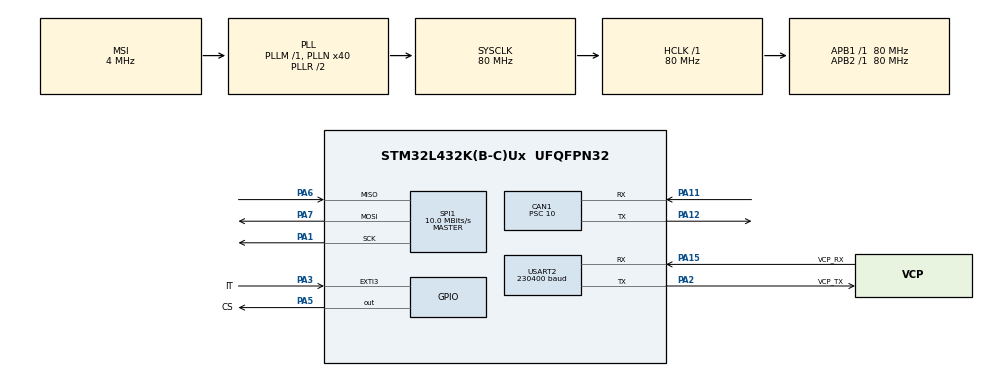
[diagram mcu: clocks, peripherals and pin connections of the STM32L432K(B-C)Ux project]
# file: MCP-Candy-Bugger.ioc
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CAN1.ABOM=ENABLE
CAN1.AWUM=ENABLE
CAN1.BS1=CAN_BS1_12TQ
CAN1.BS2=CAN_BS2_3TQ
CAN1.CalculateTimeBit=2000
CAN1.CalculateTimeQuantum=125.0
CAN1.Prescaler=10
CAN1.SJW=CAN_SJW_3TQ
Dma.Request0=USART2_RX
Dma.Request1=USART2_TX
Dma.Request2=SPI1_RX
Dma.Request3=SPI1_TX
Dma.SPI1_RX.2.Direction=DMA_PERIPH_TO_MEMORY
Dma.SPI1_RX.2.Instance=DMA1_Channel2
Dma.SPI1_RX.2.MemDataAlignment=DMA_MDATAALIGN_BYTE
Dma.SPI1_RX.2.MemInc=DMA_MINC_ENABLE
Dma.SPI1_RX.2.Mode=DMA_NORMAL
Dma.SPI1_RX.2.PeriphDataAlignment=DMA_PDATAALIGN_BYTE
Dma.SPI1_RX.2.PeriphInc=DMA_PINC_DISABLE
Dma.SPI1_RX.2.Priority=DMA_PRIORITY_HIGH
Dma.SPI1_TX.3.Direction=DMA_MEMORY_TO_PERIPH
Dma.SPI1_TX.3.Instance=DMA1_Channel3
Dma.SPI1_TX.3.MemDataAlignment=DMA_MDATAALIGN_BYTE
Dma.SPI1_TX.3.MemInc=DMA_MINC_ENABLE
Dma.SPI1_TX.3.Mode=DMA_NORMAL
Dma.SPI1_TX.3.PeriphDataAlignment=DMA_PDATAALIGN_BYTE
Dma.SPI1_TX.3.PeriphInc=DMA_PINC_DISABLE
Dma.SPI1_TX.3.Priority=DMA_PRIORITY_VERY_HIGH
Dma.USART2_RX.0.Direction=DMA_PERIPH_TO_MEMORY
Dma.USART2_RX.0.Instance=DMA1_Channel6
Dma.USART2_RX.0.MemDataAlignment=DMA_MDATAALIGN_BYTE
Dma.USART2_RX.0.MemInc=DMA_MINC_ENABLE
Dma.USART2_RX.0.Mode=DMA_CIRCULAR
Dma.USART2_RX.0.PeriphDataAlignment=DMA_PDATAALIGN_BYTE
Dma.USART2_RX.0.PeriphInc=DMA_PINC_DISABLE
Dma.USART2_RX.0.Priority=DMA_PRIORITY_HIGH
Dma.USART2_TX.1.Direction=DMA_MEMORY_TO_PERIPH
Dma.USART2_TX.1.Instance=DMA1_Channel7
Dma.USART2_TX.1.MemDataAlignment=DMA_MDATAALIGN_BYTE
Dma.USART2_TX.1.MemInc=DMA_MINC_ENABLE
Dma.USART2_TX.1.Mode=DMA_NORMAL
Dma.USART2_TX.1.PeriphDataAlignment=DMA_PDATAALIGN_BYTE
Dma.USART2_TX.1.PeriphInc=DMA_PINC_DISABLE
Dma.USART2_TX.1.Priority=DMA_PRIORITY_VERY_HIGH
FREERTOS.INCLUDE_eTaskGetState=1
FREERTOS.INCLUDE_vTaskDelayUntil=1
FREERTOS.INCLUDE_xQueueGetMutexHolder=1
FREERTOS.INCLUDE_xSemaphoreGetMutexHolder=1
FREERTOS.INCLUDE_xTaskGetCurrentTaskHandle=1
FREERTOS.Mutexes01=UartTxMtx
FREERTOS.Queues01=mainCanTxQ,64,Can_frame_t,NULL;mainCanRxQ,64,Can_frame_t,NULL
FREERTOS.Tasks01=processCan,-2,512,doProcessCan,Default;ProcessUart,0,512,doProcessUart,Default;housekeeping,-1,512,doHousekeeping,Default
FREERTOS.Timers01=WWDGTmr,TmrKickDog,osTimerPeriodic,Default
FREERTOS.configCHECK_FOR_STACK_OVERFLOW=2
FREERTOS.configENABLE_BACKWARD_COMPATIBILITY=0
FREERTOS.configMAX_PRIORITIES=6
FREERTOS.configMINIMAL_STACK_SIZE=256
FREERTOS.configTIMER_QUEUE_LENGTH=8
FREERTOS.configTIMER_TASK_PRIORITY=5
FREERTOS.configTIMER_TASK_STACK_DEPTH=512
FREERTOS.configTOTAL_HEAP_SIZE=32168
FREERTOS.configUSE_MALLOC_FAILED_HOOK=1
FREERTOS.configUSE_PORT_OPTIMISED_TASK_SELECTION=1
FREERTOS.configUSE_TASK_NOTIFICATIONS=0
FREERTOS.configUSE_TIMERS=1
FREERTOS.configUSE_TRACE_FACILITY=0
Mcu.Family=STM32L4
Mcu.Name=STM32L432K(B-C)Ux
Mcu.Package=UFQFPN32
NVIC.CAN1_RX0_IRQn=true\:5\:0\:true\:false\:true\:false
NVIC.CAN1_RX1_IRQn=true\:5\:0\:true\:false\:true\:false
NVIC.CAN1_SCE_IRQn=true\:5\:0\:true\:false\:true\:false
NVIC.CAN1_TX_IRQn=true\:5\:0\:true\:false\:true\:false
NVIC.DMA1_Channel2_IRQn=true\:5\:0\:false\:false\:true\:true
NVIC.DMA1_Channel3_IRQn=true\:5\:0\:false\:false\:true\:true
NVIC.DMA1_Channel6_IRQn=true\:5\:0\:false\:false\:true\:true
NVIC.DMA1_Channel7_IRQn=true\:5\:0\:false\:false\:true\:true
NVIC.PriorityGroup=NVIC_PRIORITYGROUP_4
NVIC.SPI1_IRQn=true\:5\:0\:false\:false\:true\:true
NVIC.TIM6_DAC_IRQn=true\:0\:0\:false\:false\:true\:false
NVIC.TimeBase=TIM6_DAC_IRQn
NVIC.TimeBaseIP=TIM6
NVIC.USART2_IRQn=true\:5\:0\:false\:false\:true\:true
PA1.Mode=Full_Duplex_Master
PA1.Signal=SPI1_SCK
PA11.Mode=Master
PA11.Signal=CAN1_RX
PA12.Mode=Master
PA12.Signal=CAN1_TX
PA13\ (JTMS-SWDIO).Mode=Serial_Wire
PA13\ (JTMS-SWDIO).Signal=SYS_JTMS-SWDIO
PA14\ (JTCK-SWCLK).Mode=Serial_Wire
PA14\ (JTCK-SWCLK).Signal=SYS_JTCK-SWCLK
PA15\ (JTDI).GPIO_Label=VCP_RX
PA15\ (JTDI).Mode=Asynchronous
PA15\ (JTDI).Signal=USART2_RX
PA2.GPIO_Label=VCP_TX
PA2.Mode=Asynchronous
PA2.Signal=USART2_TX
PA3.GPIO_Label=IT
PA3.Signal=GPXTI3
PA5.GPIO_Label=CS
PA5.GPIO_ModeDefaultOutputPP=GPIO_MODE_OUTPUT_OD
PA5.GPIO_PuPd=GPIO_PULLUP
PA5.GPIO_Speed=GPIO_SPEED_FREQ_VERY_HIGH
PA5.PinState=GPIO_PIN_SET
PA5.Signal=GPIO_Output
PA6.Mode=Full_Duplex_Master
PA6.Signal=SPI1_MISO
PA7.Mode=Full_Duplex_Master
PA7.Signal=SPI1_MOSI
ProjectManager.HeapSize=0x200
ProjectManager.StackSize=0x400
ProjectManager.TargetToolchain=SW4STM32
RCC.ADCCLockSelection=RCC_ADCCLKSOURCE_SYSCLK
RCC.ADCFreq_Value=80000000
RCC.AHBFreq_Value=80000000
RCC.APB1Freq_Value=80000000
RCC.APB1TimFreq_Value=80000000
RCC.APB2Freq_Value=80000000
RCC.APB2TimFreq_Value=80000000
RCC.CortexFreq_Value=80000000
RCC.HCLKFreq_Value=80000000
RCC.HSE_VALUE=8000000
RCC.HSI16_VALUE=16000000
RCC.HSI48_VALUE=48000000
RCC.HSI_VALUE=16000000
RCC.LSE_VALUE=32768
RCC.MSI_VALUE=4000000
RCC.PLLMUL=RCC_PLLMUL_4
RCC.PLLN=40
RCC.PLLSAI1N=40
RCC.PREFETCH_ENABLE=1
RCC.SYSCLKFreq_VALUE=80000000
RCC.SYSCLKSource=RCC_SYSCLKSOURCE_PLLCLK
RCC.USBFreq_Value=80000000
RCC.VCOOutputFreq_Value=160000000
SPI1.BaudRatePrescaler=SPI_BAUDRATEPRESCALER_8
SPI1.CalculateBaudRate=10.0 MBits/s
SPI1.DataSize=SPI_DATASIZE_8BIT
SPI1.Mode=SPI_MODE_MASTER
USART2.BaudRate=230400
USART2.WordLength=UART_WORDLENGTH_8B
VP_FREERTOS_VS_ENABLE.Mode=Enabled
VP_SYS_VS_tim6.Mode=TIM6
VP_WWDG_VS_WWDG.Mode=WWDG_Activate
WWDG.Counter=127
WWDG.Prescaler=WWDG_PRESCALER_8
WWDG.Window=127
board=NUCLEO-L432KC

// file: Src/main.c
/**
  ******************************************************************************
  * File Name          : main.c
  * Description        : Main program body
  ******************************************************************************
  *
  * Copyright (c) 2017 STMicroelectronics International N.V.
  * All rights reserved.
  *
  * Redistribution and use in source and binary forms, with or without
  * modification, are permitted, provided that the following conditions are met:
  *
  * 1. Redistribution of source code must retain the above copyright notice,
  *    this list of conditions and the following disclaimer.
  * 2. Redistributions in binary form must reproduce the above copyright notice,
  *    this list of conditions and the following disclaimer in the documentation
  *    and/or other materials provided with the distribution.
  * 3. Neither the name of STMicroelectronics nor the names of other
  *    contributors to this software may be used to endorse or promote products
  *    derived from this software without specific written permission.
  * 4. This software, including modifications and/or derivative works of this
  *    software, must execute solely and exclusively on microcontroller or
  *    microprocessor devices manufactured by or for STMicroelectronics.
  * 5. Redistribution and use of this software other than as permitted under
  *    this license is void and will automatically terminate your rights under
  *    this license.
  *
  * THIS SOFTWARE IS PROVIDED BY STMICROELECTRONICS AND CONTRIBUTORS "AS IS"
  * AND ANY EXPRESS, IMPLIED OR STATUTORY WARRANTIES, INCLUDING, BUT NOT
  * LIMITED TO, THE IMPLIED WARRANTIES OF MERCHANTABILITY, FITNESS FOR A
  * PARTICULAR PURPOSE AND NON-INFRINGEMENT OF THIRD PARTY INTELLECTUAL PROPERTY
  * RIGHTS ARE DISCLAIMED TO THE FULLEST EXTENT PERMITTED BY LAW. IN NO EVENT
  * SHALL STMICROELECTRONICS OR CONTRIBUTORS BE LIABLE FOR ANY DIRECT, INDIRECT,
  * INCIDENTAL, SPECIAL, EXEMPLARY, OR CONSEQUENTIAL DAMAGES (INCLUDING, BUT NOT
  * LIMITED TO, PROCUREMENT OF SUBSTITUTE GOODS OR SERVICES; LOSS OF USE, DATA,
  * OR PROFITS; OR BUSINESS INTERRUPTION) HOWEVER CAUSED AND ON ANY THEORY OF
  * LIABILITY, WHETHER IN CONTRACT, STRICT LIABILITY, OR TORT (INCLUDING
  * NEGLIGENCE OR OTHERWISE) ARISING IN ANY WAY OUT OF THE USE OF THIS SOFTWARE,
  * EVEN IF ADVISED OF THE POSSIBILITY OF SUCH DAMAGE.
  *
  ******************************************************************************
  */
#include "main.h"
#include "stm32l4xx_hal.h"
#include "cmsis_os.h"

/* USER CODE BEGIN Includes */
#include "serial.h"
#include "can.h"
#include "errors.h"

/* USER CODE END Includes */

CAN_HandleTypeDef hcan1;

SPI_HandleTypeDef hspi1;
DMA_HandleTypeDef hdma_spi1_rx;
DMA_HandleTypeDef hdma_spi1_tx;

UART_HandleTypeDef huart2;
DMA_HandleTypeDef hdma_usart2_rx;
DMA_HandleTypeDef hdma_usart2_tx;

WWDG_HandleTypeDef hwwdg;

osThreadId processCanHandle;
osThreadId ProcessUartHandle;
osThreadId housekeepingHandle;
osMessageQId mainCanTxQHandle;
osMessageQId mainCanRxQHandle;
osTimerId WWDGTmrHandle;
osMutexId UartTxMtxHandle;

/* USER CODE BEGIN PV */
/* Private variables ---------------------------------------------------------*/
static uint8_t FWVersionNumber[] = "1.0.0";

static uint32_t CanErr = 0;
static uint16_t CanSent = 0;

/* USER CODE END PV */

void SystemClock_Config(void);
void Error_Handler(void);
static void MX_GPIO_Init(void);
static void MX_DMA_Init(void);
static void MX_CAN1_Init(void);
static void MX_USART2_UART_Init(void);
static void MX_WWDG_Init(void);
static void MX_SPI1_Init(void);
void doProcessCan(void const * argument);
void doProcessUart(void const * argument);
void doHousekeeping(void const * argument);
void TmrKickDog(void const * argument);

/* USER CODE BEGIN PFP */
/* Private function prototypes -----------------------------------------------*/
void logError(LogErrorCode_t e, LogErrorLevel_t l);

void notifySuccess(){
	static uint8_t msg[] = "{\"type\":\"action\",\"success\":true}\n";
	xSemaphoreTake(UartTxMtxHandle, portMAX_DELAY);
	Serial2_writeBuf(msg);
	xSemaphoreGive(UartTxMtxHandle);
}

void notifyFail(){
	static uint8_t msg[] = "{\"type\":\"action\",\"success\":false}\n";
	xSemaphoreTake(UartTxMtxHandle, portMAX_DELAY);
	Serial2_writeBuf(msg);
	xSemaphoreGive(UartTxMtxHandle);
}

void toCaps(uint8_t *str, uint8_t length){
	for(int i=0; i<length; i++){
		if(str[i]>='a' && str[i]<='z'){
			str[i]-=(0x20);
		}
	}
}

uint8_t toHex(uint8_t i){
	return (i<=9 ? '0'+i : 'A'+i-10);
}

uint8_t fromHex(uint8_t i){//0xff = invalid char
	if(i>='0' && i<='9'){
		return i-'0';
	}else if(i>='A' && i<='F'){
		return i-'A'+10;
	}else if(i>='a' && i<='f'){
		return i-'a'+10;
	}
	return 0xff;
}

uint8_t intToDec(uint input, uint8_t *str){ //returns length. Only does positives.
	uint8_t length = 0;
	uint8_t output[10];
	while(input/10){
		length++;
		output[10-length] = toHex(input%10);
		input/=10;
	}
	length++;
	output[10-length] = toHex(input);
	for(int i=0; i<length; i++){
		str[i] = output[10-length+i];
	}
	return length;
}

void intToHex(uint32_t input, uint8_t *str, int length){
	for(int i=0; i<length; i++){
		str[length-1-i]=toHex(input&0x0F);
		input = input>>4;
	}
}

int strToInt(uint8_t *str, uint8_t index, uint8_t length){
	return 0;
}

void cantxcb(){
	CanSent ++;
}

void canercb(uint32_t e){
	CanErr = e;
}

void logError(LogErrorCode_t e, LogErrorLevel_t l){
	static uint8_t errlvlwarn[] = "warn";			//error fixed or accounted for
	static uint8_t errlvlabort[] = "abort";			//error caused function to exit
	static uint8_t errlvlfatal[] = "fatal";			//shit (and soon the watchdog) hit the fan.
	static uint8_t errlvldunno[] = "unknown";		//wrong value or lazy implementation
	static uint8_t errCode[] = "xxxxxxxxxx";	//max is 4 billion for int
	static uint8_t errmsg1[] = "{\"type\":\"error\",\"code\":";
	static uint8_t errmsg2[] = ",\"message\":\"";
	static uint8_t errmsg3[] = "\",\"level\":\"";
	static uint8_t errmsg4[] = "\"}\n";

	xSemaphoreTake(UartTxMtxHandle, portMAX_DELAY);
	uint8_t length = intToDec(e, errCode);
	Serial2_writeBuf(errmsg1);
	Serial2_writeBytes(errCode, length);
	Serial2_writeBuf(errmsg2);
	Serial2_writeBytes(Err_Messages[e].str, Err_Messages[e].length);
	Serial2_writeBuf(errmsg3);
	switch(l){
	case ERR_Fatal:
		Serial2_writeBuf(errlvlfatal); break;
	case ERR_Warn:
		Serial2_writeBuf(errlvlwarn); break;
	case ERR_Abort:
		Serial2_writeBuf(errlvlabort); break;
	default:
		Serial2_writeBuf(errlvldunno); break;
	}
	Serial2_writeBuf(errmsg4);
	xSemaphoreGive(UartTxMtxHandle);
}

static void waitTilAvail(uint length){ //blocks current taks (runs others) until true
	while(Serial2_available() < length){
		osDelay(1);
	}
}

void parseFilter(uint8_t isExt, uint8_t isMasked){
	static uint32_t id;
	static uint32_t mask;
	 int isRemote;

	static uint8_t tempByte;
	/*Get RTR*/
	waitTilAvail(1);
	tempByte = fromHex(Serial2_read());
	if(tempByte > 0x03){
		logError(ERR_invalidRtrBits, ERR_Abort);
		return;
	}else if(tempByte > 0x01){ //mask = must match
		if(tempByte & 0x01){
			isRemote = 1;
		}else{
			isRemote = 0;
		}
	}else{ //mask = don't care
		isRemote = -1;
	}
	/*Get ID*/
	id = 0;
	if(isExt){
		waitTilAvail(8);
		for(int i=0; i<8; i++){
			tempByte = fromHex(Serial2_read());
			if(tempByte > 0x0f){
				logError(ERR_invalidHexChar, ERR_Abort);
				return;
			}
			id |= tempByte << ((7-i)*4);
		}
		if(id > 0x1fffffff){
			logError(ERR_idIsOutOfRange, ERR_Abort);
			return;
		}
	}else{
		waitTilAvail(3);
		for(int i=0; i<3; i++){
			tempByte = fromHex(Serial2_read());
			if(tempByte > 0x0f){
				logError(ERR_invalidHexChar, ERR_Abort);
				return;
			}
			id |= tempByte << ((2-i)*4);
		}
		if(id > 0x7ff){
			logError(ERR_idIsOutOfRange, ERR_Abort);
			return;
		}
	}
	/*Get mask and/or send*/
	if(isMasked){
		if(isExt){
			waitTilAvail(8);
			for(int i=0; i<8; i++){
				tempByte = fromHex(Serial2_read());
				if(tempByte > 0x0f){
					logError(ERR_invalidHexChar, ERR_Abort);
					return;
				}
				mask |= tempByte << ((7-i)*4);
			}
			if(mask > 0x1fffffff){
				logError(ERR_idIsOutOfRange, ERR_Abort);
				return;
			}
			bxCan_addMaskedFilterExt(id, mask, isRemote);
		}else{
			waitTilAvail(3);
			for(int i=0; i<3; i++){
				tempByte = fromHex(Serial2_read());
				if(tempByte > 0x0f){
					logError(ERR_invalidHexChar, ERR_Abort);
					return;
				}
				mask |= tempByte << ((2-i)*4);
			}
			if(mask > 0x7ff){
				logError(ERR_idIsOutOfRange, ERR_Abort);
				return;
			}
			bxCan_addMaskedFilterStd(id, mask, isRemote);
		}
	}else{
		if(isExt){
			bxCan_addFilterExt(id, isRemote);
		}else{
			bxCan_addFilterStd(id, isRemote);
		}
		notifySuccess();
	}
}

void parseFrame(uint8_t isExt, uint8_t isRemote){
	static Can_frame_t newFrame;
	static uint8_t tempByte;

	newFrame.isExt = isExt;
	newFrame.isRemote = isRemote;

	/*Get DLC*/
	waitTilAvail(1);
	newFrame.dlc = fromHex(Serial2_read());
	if(newFrame.dlc > 0x0f){
		logError(ERR_invalidHexChar, ERR_Abort);
		return;
	}

	/*Get ID*/
	newFrame.id = 0;
	if(isExt){
		waitTilAvail(8);
		for(int i=0; i<8; i++){
			tempByte = fromHex(Serial2_read());
			if(tempByte > 0x0f){
				logError(ERR_invalidHexChar, ERR_Abort);
				return;
			}
			newFrame.id |= tempByte << ((7-i)*4);
		}
		if(newFrame.id > 0x1fffffff){
			logError(ERR_idIsOutOfRange, ERR_Abort);
			return;
		}
	}else{
		waitTilAvail(3);
		for(int i=0; i<3; i++){
			tempByte = fromHex(Serial2_read());
			if(tempByte > 0x0f){
				logError(ERR_invalidHexChar, ERR_Abort);
				return;
			}
			newFrame.id |= tempByte << ((2-i)*4);
		}
		if(newFrame.id > 0x7ff){
			logError(ERR_idIsOutOfRange, ERR_Abort);
			return;
		}
	}

	/*Get data*/
	if(!isRemote){
		waitTilAvail(newFrame.dlc*2);
		for(int i=0; i<newFrame.dlc; i++){
			tempByte = fromHex(Serial2_read());
			if(tempByte > 0x0f){
				logError(ERR_invalidHexChar, ERR_Abort);
				return;
			}
			newFrame.Data[i] = tempByte << 4;
			tempByte = fromHex(Serial2_read());
			if(tempByte > 0x0f){
				logError(ERR_invalidHexChar, ERR_Abort);
				return;
			}
			newFrame.Data[i] |= tempByte;
		}
	}
	bxCan_sendFrame(&newFrame);
}

void displayHelp(){
	static uint8_t helpmsg[] = "{\"type\":\"help\",\"msg\":\"\n\nCandy Bugger\n\nSend Frame: '$', [DLC], [ID]x3|8, [Dat]x0~16\n$ designations:\n\t'-' == Std Data Frame\n\t'=' == Ext Data frame\n\t'_' == Std Remote Frame\n\t'+' == Ext Remote Frame\n\nSet Filter: '$', 0b00[RTRm][RTR], [ID]x3|8, [IDm]x3|8\n$ designations:\n\t',' == Std Unmasked Filter\n\t'.' == Ext Unmasked Filter\n\t'<' == Std Masked Filter\n\t'>' == Ext Masked Filter\n\nHelp (for no-ui operation): 'H'|'h'\n\"}\n";
	xSemaphoreTake(UartTxMtxHandle, portMAX_DELAY);
	Serial2_writeBuf(helpmsg);
	xSemaphoreGive(UartTxMtxHandle);
}

void listFilters(){
	static uint8_t truemsg[] = "true";
	static uint8_t falsemsg[] = "flase";
	static uint8_t idmsg[] = "xxxxxxxx";
	static uint8_t filternummsg[] = "xx";

	static uint8_t filtermsg1[] = "{\"type\":\"filterList\",\"filters\":[";
	static uint8_t filtermsg2[]	= "{\"filterNum\":";
	static uint8_t filtermsg3[]	= ",\"isExtended\":";
	static uint8_t filtermsg4[]	= ",\"isMasked\":";
	static uint8_t filtermsg5[]	= ",\"isRemote\":";
	static uint8_t filtermsg6[]	= ",\"maskRemote\":";
	static uint8_t filtermsg7[]	= ",\"id\":\"";
	static uint8_t filtermsg8[]	= "\",\"mask\":\"";
	static uint8_t filtermsg9[]	= "\"}";
	static uint8_t filtermsg10[] = "]}\n";

	static uint8_t isFirstMsg;
	static uint8_t len;

	xSemaphoreTake(UartTxMtxHandle, portMAX_DELAY);
	Serial2_writeBuf(filtermsg1);

	isFirstMsg = 1;
	for(int i=0; i<4*CAN_BANKS; i++){
		static Can_filter_t newFilter;
		if(bxCan_getFilter(&newFilter, i)==0){ /*FIXME get filter is glitched*/
			if(isFirstMsg){
				isFirstMsg = 0;
			}else{
				Serial2_write(',');
			}
			Serial2_writeBuf(filtermsg2);
			len = intToDec(newFilter.filterNum, filternummsg);
			Serial2_writeBytes(filternummsg, len);
			Serial2_writeBuf(filtermsg3);
			newFilter.isExt ? Serial2_writeBuf(truemsg) : Serial2_writeBuf(falsemsg);
			Serial2_writeBuf(filtermsg4);
			newFilter.isMasked ? Serial2_writeBuf(truemsg) : Serial2_writeBuf(falsemsg);
			Serial2_writeBuf(filtermsg5);
			newFilter.isRemote ? Serial2_writeBuf(truemsg) : Serial2_writeBuf(falsemsg);
			Serial2_writeBuf(filtermsg6);
			newFilter.maskRemote ? Serial2_writeBuf(truemsg) : Serial2_writeBuf(falsemsg);
			Serial2_writeBuf(filtermsg7);
			intToHex(newFilter.id, idmsg, (newFilter.isExt?8:3));
			Serial2_writeBytes(idmsg, (newFilter.isExt?8:3));
			if(newFilter.isMasked){
				Serial2_writeBuf(filtermsg8);
				intToHex(newFilter.mask, idmsg, (newFilter.isExt?8:3));
				Serial2_writeBytes(idmsg, (newFilter.isExt?8:3));
			}
			Serial2_writeBuf(filtermsg9);
		}
	}
	Serial2_writeBuf(filtermsg10);
	xSemaphoreGive(UartTxMtxHandle);
	isFirstMsg = 1;
}

void deleteFilter(){
	static uint8_t filterNum;
	static uint8_t tempChar;
	static int success;
	waitTilAvail(1);
	tempChar = Serial2_read();
	tempChar = fromHex(tempChar);
	if(tempChar > 9){
		logError(ERR_invalidDecChar, ERR_Abort);
		return;
	}
	filterNum = 10*tempChar;
	waitTilAvail(1);
	tempChar = Serial2_read();
	tempChar = fromHex(tempChar);
	if(tempChar > 9){
		logError(ERR_invalidDecChar, ERR_Abort);
		return;
	}
	filterNum += tempChar;
	if(filterNum >= CAN_BANKS*4){
		logError(ERR_invalidFilterNum, ERR_Abort);
		return;
	}
	success = bxCan_removeFilter(filterNum);
	(success==-1) ? notifyFail() : notifySuccess();
}

/* USER CODE END PFP */

int main(void)
{

  /* MCU Configuration----------------------------------------------------------*/

  /* Reset of all peripherals, Initializes the Flash interface and the Systick. */
  HAL_Init();

  /* Configure the system clock */
  SystemClock_Config();

  /* Initialize all configured peripherals */
  MX_GPIO_Init();
  MX_DMA_Init();
  MX_CAN1_Init();
  MX_USART2_UART_Init();
  MX_WWDG_Init();
  MX_SPI1_Init();

  /* USER CODE BEGIN 2 */
  Serial2_begin();

  /*TODO better boot msg*/
  static uint8_t bootmsg1[] = "{\"type\":\"boot\",\"module\":\"Debugger\",\"version\":\"";
  static uint8_t bootmsg2[] = "\",\"reason\":\"\"}\n";
  Serial2_writeBuf(bootmsg1);
  Serial2_writeBuf(FWVersionNumber);
  Serial2_writeBuf(bootmsg2);

  bxCan_begin(&hcan1, &mainCanRxQHandle, &mainCanTxQHandle);
  bxCan_setTxCallback(cantxcb);
  bxCan_setErrCallback(canercb);
  bxCan_addMaskedFilterStd(0,0,0); //catch all
  bxCan_addMaskedFilterExt(0,0,0);
  /* USER CODE END 2 */

  /* Create the mutex(es) */
  /* definition and creation of UartTxMtx */
  osMutexDef(UartTxMtx);
  UartTxMtxHandle = osMutexCreate(osMutex(UartTxMtx));

  /* Create the timer(s) */
  /* definition and creation of WWDGTmr */
  osTimerDef(WWDGTmr, TmrKickDog);
  WWDGTmrHandle = osTimerCreate(osTimer(WWDGTmr), osTimerPeriodic, NULL);

  /* USER CODE BEGIN RTOS_TIMERS */
  /* start timers, add new ones, ... */
  osTimerStart(WWDGTmrHandle, 16);
  /* USER CODE END RTOS_TIMERS */

  /* Create the thread(s) */
  /* definition and creation of processCan */
  osThreadDef(processCan, doProcessCan, osPriorityLow, 0, 512);
  processCanHandle = osThreadCreate(osThread(processCan), NULL);

  /* definition and creation of ProcessUart */
  osThreadDef(ProcessUart, doProcessUart, osPriorityNormal, 0, 512);
  ProcessUartHandle = osThreadCreate(osThread(ProcessUart), NULL);

  /* definition and creation of housekeeping */
  osThreadDef(housekeeping, doHousekeeping, osPriorityBelowNormal, 0, 512);
  housekeepingHandle = osThreadCreate(osThread(housekeeping), NULL);

  /* Create the queue(s) */
  /* definition and creation of mainCanTxQ */
  osMessageQDef(mainCanTxQ, 64, Can_frame_t);
  mainCanTxQHandle = osMessageCreate(osMessageQ(mainCanTxQ), NULL);

  /* definition and creation of mainCanRxQ */
  osMessageQDef(mainCanRxQ, 64, Can_frame_t);
  mainCanRxQHandle = osMessageCreate(osMessageQ(mainCanRxQ), NULL);

  /* Start scheduler */
  osKernelStart();

  /* We should never get here as control is now taken by the scheduler */

  /* Infinite loop */
  while (1){

  }

}

/** System Clock Configuration
*/
void SystemClock_Config(void)
{

  RCC_OscInitTypeDef RCC_OscInitStruct;
  RCC_ClkInitTypeDef RCC_ClkInitStruct;
  RCC_PeriphCLKInitTypeDef PeriphClkInit;

    /**Initializes the CPU, AHB and APB busses clocks
    */
  RCC_OscInitStruct.OscillatorType = RCC_OSCILLATORTYPE_MSI;
  RCC_OscInitStruct.MSIState = RCC_MSI_ON;
  RCC_OscInitStruct.MSICalibrationValue = 0;
  RCC_OscInitStruct.MSIClockRange = RCC_MSIRANGE_6;
  RCC_OscInitStruct.PLL.PLLState = RCC_PLL_ON;
  RCC_OscInitStruct.PLL.PLLSource = RCC_PLLSOURCE_MSI;
  RCC_OscInitStruct.PLL.PLLM = 1;
  RCC_OscInitStruct.PLL.PLLN = 40;
  RCC_OscInitStruct.PLL.PLLP = RCC_PLLP_DIV7;
  RCC_OscInitStruct.PLL.PLLQ = RCC_PLLQ_DIV2;
  RCC_OscInitStruct.PLL.PLLR = RCC_PLLR_DIV2;
  if (HAL_RCC_OscConfig(&RCC_OscInitStruct) != HAL_OK)
  {
    Error_Handler();
  }

    /**Initializes the CPU, AHB and APB busses clocks
    */
  RCC_ClkInitStruct.ClockType = RCC_CLOCKTYPE_HCLK|RCC_CLOCKTYPE_SYSCLK
                              |RCC_CLOCKTYPE_PCLK1|RCC_CLOCKTYPE_PCLK2;
  RCC_ClkInitStruct.SYSCLKSource = RCC_SYSCLKSOURCE_PLLCLK;
  RCC_ClkInitStruct.AHBCLKDivider = RCC_SYSCLK_DIV1;
  RCC_ClkInitStruct.APB1CLKDivider = RCC_HCLK_DIV1;
  RCC_ClkInitStruct.APB2CLKDivider = RCC_HCLK_DIV1;

  if (HAL_RCC_ClockConfig(&RCC_ClkInitStruct, FLASH_LATENCY_4) != HAL_OK)
  {
    Error_Handler();
  }

  PeriphClkInit.PeriphClockSelection = RCC_PERIPHCLK_USART2;
  PeriphClkInit.Usart2ClockSelection = RCC_USART2CLKSOURCE_PCLK1;
  if (HAL_RCCEx_PeriphCLKConfig(&PeriphClkInit) != HAL_OK)
  {
    Error_Handler();
  }

    /**Configure the main internal regulator output voltage
    */
  if (HAL_PWREx_ControlVoltageScaling(PWR_REGULATOR_VOLTAGE_SCALE1) != HAL_OK)
  {
    Error_Handler();
  }

    /**Configure the Systick interrupt time
    */
  HAL_SYSTICK_Config(HAL_RCC_GetHCLKFreq()/1000);

    /**Configure the Systick
    */
  HAL_SYSTICK_CLKSourceConfig(SYSTICK_CLKSOURCE_HCLK);

  /* SysTick_IRQn interrupt configuration */
  HAL_NVIC_SetPriority(SysTick_IRQn, 15, 0);
}

/* CAN1 init function */
static void MX_CAN1_Init(void)
{

  hcan1.Instance = CAN1;
  hcan1.Init.Prescaler = 10;
  hcan1.Init.Mode = CAN_MODE_NORMAL;
  hcan1.Init.SJW = CAN_SJW_3TQ;
  hcan1.Init.BS1 = CAN_BS1_12TQ;
  hcan1.Init.BS2 = CAN_BS2_3TQ;
  hcan1.Init.TTCM = DISABLE;
  hcan1.Init.ABOM = ENABLE;
  hcan1.Init.AWUM = ENABLE;
  hcan1.Init.NART = DISABLE;
  hcan1.Init.RFLM = DISABLE;
  hcan1.Init.TXFP = DISABLE;
  if (HAL_CAN_Init(&hcan1) != HAL_OK)
  {
    Error_Handler();
  }

}

/* SPI1 init function */
static void MX_SPI1_Init(void)
{

  hspi1.Instance = SPI1;
  hspi1.Init.Mode = SPI_MODE_MASTER;
  hspi1.Init.Direction = SPI_DIRECTION_2LINES;
  hspi1.Init.DataSize = SPI_DATASIZE_8BIT;
  hspi1.Init.CLKPolarity = SPI_POLARITY_LOW;
  hspi1.Init.CLKPhase = SPI_PHASE_1EDGE;
  hspi1.Init.NSS = SPI_NSS_SOFT;
  hspi1.Init.BaudRatePrescaler = SPI_BAUDRATEPRESCALER_8;
  hspi1.Init.FirstBit = SPI_FIRSTBIT_MSB;
  hspi1.Init.TIMode = SPI_TIMODE_DISABLE;
  hspi1.Init.CRCCalculation = SPI_CRCCALCULATION_DISABLE;
  hspi1.Init.CRCPolynomial = 7;
  hspi1.Init.CRCLength = SPI_CRC_LENGTH_DATASIZE;
  hspi1.Init.NSSPMode = SPI_NSS_PULSE_ENABLE;
  if (HAL_SPI_Init(&hspi1) != HAL_OK)
  {
    Error_Handler();
  }

}

/* USART2 init function */
static void MX_USART2_UART_Init(void)
{

  huart2.Instance = USART2;
  huart2.Init.BaudRate = 230400;
  huart2.Init.WordLength = UART_WORDLENGTH_8B;
  huart2.Init.StopBits = UART_STOPBITS_1;
  huart2.Init.Parity = UART_PARITY_NONE;
  huart2.Init.Mode = UART_MODE_TX_RX;
  huart2.Init.HwFlowCtl = UART_HWCONTROL_NONE;
  huart2.Init.OverSampling = UART_OVERSAMPLING_16;
  huart2.Init.OneBitSampling = UART_ONE_BIT_SAMPLE_DISABLE;
  huart2.AdvancedInit.AdvFeatureInit = UART_ADVFEATURE_NO_INIT;
  if (HAL_UART_Init(&huart2) != HAL_OK)
  {
    Error_Handler();
  }

}

/* WWDG init function */
static void MX_WWDG_Init(void)
{

  hwwdg.Instance = WWDG;
  hwwdg.Init.Prescaler = WWDG_PRESCALER_8;
  hwwdg.Init.Window = 127;
  hwwdg.Init.Counter = 127;
  hwwdg.Init.EWIMode = WWDG_EWI_DISABLE;
  if (HAL_WWDG_Init(&hwwdg) != HAL_OK)
  {
    Error_Handler();
  }

}

static void MX_DMA_Init(void)
{
  /* DMA controller clock enable */
  LL_AHB1_GRP1_EnableClock(LL_AHB1_GRP1_PERIPH_DMA1);

  /* DMA interrupt init */
  /* DMA1_Channel2_IRQn interrupt configuration */
  HAL_NVIC_SetPriority(DMA1_Channel2_IRQn, 5, 0);
  HAL_NVIC_EnableIRQ(DMA1_Channel2_IRQn);
  /* DMA1_Channel3_IRQn interrupt configuration */
  HAL_NVIC_SetPriority(DMA1_Channel3_IRQn, 5, 0);
  HAL_NVIC_EnableIRQ(DMA1_Channel3_IRQn);
  /* DMA1_Channel6_IRQn interrupt configuration */
  HAL_NVIC_SetPriority(DMA1_Channel6_IRQn, 5, 0);
  HAL_NVIC_EnableIRQ(DMA1_Channel6_IRQn);
  /* DMA1_Channel7_IRQn interrupt configuration */
  HAL_NVIC_SetPriority(DMA1_Channel7_IRQn, 5, 0);
  HAL_NVIC_EnableIRQ(DMA1_Channel7_IRQn);

}

/** Configure pins as
        * Analog
        * Input
        * Output
        * EVENT_OUT
        * EXTI
        * Free pins are configured automatically as Analog (this feature is enabled through
        * the Code Generation settings)
*/
static void MX_GPIO_Init(void)
{

  GPIO_InitTypeDef GPIO_InitStruct;

  /* GPIO Ports Clock Enable */
  __HAL_RCC_GPIOC_CLK_ENABLE();
  __HAL_RCC_GPIOA_CLK_ENABLE();
  __HAL_RCC_GPIOB_CLK_ENABLE();
  __HAL_RCC_GPIOH_CLK_ENABLE();

  /*Configure GPIO pins : PC14 PC15 */
  GPIO_InitStruct.Pin = GPIO_PIN_14|GPIO_PIN_15;
  GPIO_InitStruct.Mode = GPIO_MODE_ANALOG;
  GPIO_InitStruct.Pull = GPIO_NOPULL;
  HAL_GPIO_Init(GPIOC, &GPIO_InitStruct);

  /*Configure GPIO pins : PA0 PA4 PA8 PA9
                           PA10 */
  GPIO_InitStruct.Pin = GPIO_PIN_0|GPIO_PIN_4|GPIO_PIN_8|GPIO_PIN_9
                          |GPIO_PIN_10;
  GPIO_InitStruct.Mode = GPIO_MODE_ANALOG;
  GPIO_InitStruct.Pull = GPIO_NOPULL;
  HAL_GPIO_Init(GPIOA, &GPIO_InitStruct);

  /*Configure GPIO pin : IT_Pin */
  GPIO_InitStruct.Pin = IT_Pin;
  GPIO_InitStruct.Mode = GPIO_MODE_IT_RISING;
  GPIO_InitStruct.Pull = GPIO_NOPULL;
  HAL_GPIO_Init(IT_GPIO_Port, &GPIO_InitStruct);

  /*Configure GPIO pin : CS_Pin */
  GPIO_InitStruct.Pin = CS_Pin;
  GPIO_InitStruct.Mode = GPIO_MODE_OUTPUT_OD;
  GPIO_InitStruct.Pull = GPIO_PULLUP;
  GPIO_InitStruct.Speed = GPIO_SPEED_FREQ_VERY_HIGH;
  HAL_GPIO_Init(CS_GPIO_Port, &GPIO_InitStruct);

  /*Configure GPIO pins : PB0 PB1 PB3 PB4
                           PB5 PB6 PB7 */
  GPIO_InitStruct.Pin = GPIO_PIN_0|GPIO_PIN_1|GPIO_PIN_3|GPIO_PIN_4
                          |GPIO_PIN_5|GPIO_PIN_6|GPIO_PIN_7;
  GPIO_InitStruct.Mode = GPIO_MODE_ANALOG;
  GPIO_InitStruct.Pull = GPIO_NOPULL;
  HAL_GPIO_Init(GPIOB, &GPIO_InitStruct);

  /*Configure GPIO pin : PH3 */
  GPIO_InitStruct.Pin = GPIO_PIN_3;
  GPIO_InitStruct.Mode = GPIO_MODE_ANALOG;
  GPIO_InitStruct.Pull = GPIO_NOPULL;
  HAL_GPIO_Init(GPIOH, &GPIO_InitStruct);

  /*Configure GPIO pin Output Level */
  HAL_GPIO_WritePin(CS_GPIO_Port, CS_Pin, GPIO_PIN_SET);

}

/* doProcessCan function */
void doProcessCan(void const * argument)
{

  /* USER CODE BEGIN 5 */
  static Can_frame_t newFrame;

  /*JSON goodness*/
  static uint8_t truemsg[] = "true";
  static uint8_t falsemsg[] = "false";
  static uint8_t stdidmsg[] = "xxx";
  static uint8_t extidmsg[] = "xxxxxxxx";
  static uint8_t datamsg[] = ",\"xx\"";
  static uint8_t framemsg1[] = "{\"type\":\"frame\",\"ide\":"; //bool
  static uint8_t framemsg2[] = ",\"rtr\":";		//bool
  static uint8_t framemsg3[] = ",\"dlc\":";		//number
  static uint8_t framemsg4[] = ",\"id\":\"";		//string (hex)
  static uint8_t framemsg5[] = "\",\"data\":[";	//strings (hex)
  static uint8_t framemsg6[] = "]}\n";			//for data frames
  static uint8_t framemsg5b[] = "\"}\n";			//for remote frames

  /* Infinite loop */
  for(;;)
  {
	  xQueueReceive(mainCanRxQHandle, &newFrame, portMAX_DELAY);
	  xSemaphoreTake(UartTxMtxHandle, portMAX_DELAY);

	  /*bang out the frame in JSON*/
	  Serial2_writeBuf(framemsg1);
	  newFrame.isExt ? Serial2_writeBuf(truemsg) : Serial2_writeBuf(falsemsg);
	  Serial2_writeBuf(framemsg2);
	  newFrame.isRemote ? Serial2_writeBuf(truemsg) : Serial2_writeBuf(falsemsg);
	  Serial2_writeBuf(framemsg3);
	  Serial2_write(toHex(newFrame.dlc));
	  Serial2_writeBuf(framemsg4);
	  if(newFrame.isExt){
		  intToHex(newFrame.id, extidmsg, 8);
		  Serial2_writeBuf(extidmsg);
	  }else{
		  intToHex(newFrame.id, stdidmsg, 3);
		  Serial2_writeBuf(stdidmsg);
	  }
	  if(newFrame.isRemote){
		  Serial2_writeBuf(framemsg5b);
	  }else{
		  Serial2_writeBuf(framemsg5);
		  for(int i=0; i<newFrame.dlc; i++){
			  intToHex(newFrame.Data[i], datamsg+2, 2);
			  if(i==0){
				  Serial2_writeBytes(datamsg+1, sizeof(datamsg)-2);
			  }else{
				  Serial2_writeBuf(datamsg);
			  }
		  }
		  Serial2_writeBuf(framemsg6);
	  }

	  xSemaphoreGive(UartTxMtxHandle);
  }
  /* USER CODE END 5 */
}

/* doProcessUart function */
void doProcessUart(void const * argument)
{
  /* USER CODE BEGIN doProcessUart */
	/* Infinite loop */
	for(;;)
	{
		if(Serial2_available()){
			static uint8_t cmd;
			cmd = Serial2_read();
			switch(cmd){
			case '-':
				parseFrame(0,0);
				break;
			case '=':
				parseFrame(1,0);
				break;
			case '_':
				parseFrame(0,1);
				break;
			case '+':
				parseFrame(1,1);
				break;
			case ',':
				parseFilter(0,0);
				break;
			case '.':
				parseFilter(1,0);
				break;
			case '<':
				parseFilter(0,1);
				break;
			case '>':
				parseFilter(1,1);
				break;
			case '/':
				deleteFilter();
				break;
			case '?':
				listFilters();
				break;
			case 'H':
			case 'h':
				displayHelp();
				break;
			default:
				logError(ERR_invalidCommand, ERR_Warn);
			}
		}else{
			osDelay(1);
		}
	}
  /* USER CODE END doProcessUart */
}

/* doHousekeeping function */
void doHousekeeping(void const * argument)
{
  /* USER CODE BEGIN doHousekeeping */

	/*JSON goodness*/
	static uint8_t sentmsg1[] = "{\"type\":\"sent\",\"count\":";
	static uint8_t sentmsg2[] = "}\n";
	static uint8_t sentcount[] = "xxxxx";

	/* Infinite loop */
	for(;;){
		/*First, check for errors*/
		if(CanErr){
			for(int i=0; i<9; i++){
				if(CanErr & (1 << i)){
					logError(ERR_CanErrorEWG + i, ERR_Warn);
				}
			}
			CanErr = 0;
		/*Then, check for frames sent*/
		}else if(CanSent){
			static uint16_t sent; //interrupt proofing
			static uint8_t len;
			sent = CanSent;
			len = intToDec(sent, sentcount);

			xSemaphoreTake(UartTxMtxHandle, portMAX_DELAY);
			Serial2_writeBuf(sentmsg1);
			Serial2_writeBytes(sentcount, len);
			Serial2_writeBuf(sentmsg2);
			xSemaphoreGive(UartTxMtxHandle);

			CanSent -= sent;
		}else{
			osDelay(1);
		}
	}
  /* USER CODE END doHousekeeping */
}

/* TmrKickDog function */
void TmrKickDog(void const * argument)
{
  /* USER CODE BEGIN TmrKickDog */
  taskENTER_CRITICAL();
  HAL_WWDG_Refresh(&hwwdg);
  taskEXIT_CRITICAL();
  /* USER CODE END TmrKickDog */
}

void HAL_TIM_PeriodElapsedCallback(TIM_HandleTypeDef *htim)
{
  if (htim->Instance == TIM6) {
    HAL_IncTick();
  }
}

void Error_Handler(void)
{
  while(1)
  {
  }
}

/************************ (C) COPYRIGHT STMicroelectronics *****END OF FILE****/
